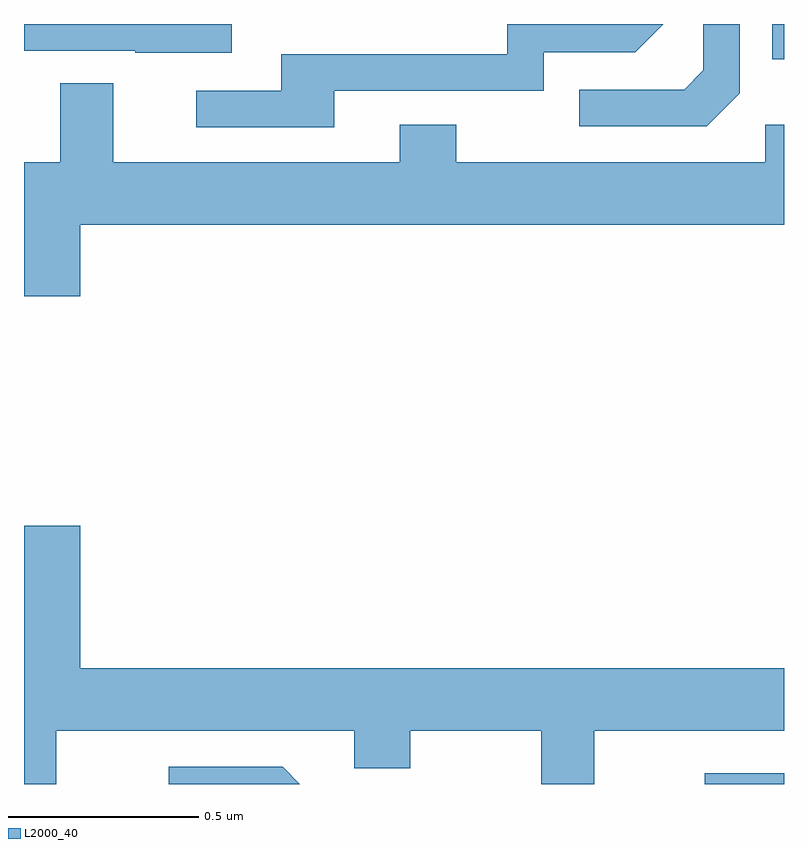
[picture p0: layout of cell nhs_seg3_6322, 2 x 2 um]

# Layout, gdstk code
import gdstk
lib = gdstk.Library(unit=1e-6, precision=1e-09)
def R(c, l, rs):  # rectangles x0, y0, x1, y1
    for r in rs: c.add(gdstk.rectangle(r[:2], r[2:], *l))
def P(c, l, *ps):  # polygons
    for p in ps: c.add(gdstk.Polygon(p, *l))
L2000_40 = (2000, 40)

nhs_seg3_6322 = lib.new_cell('nhs_seg3_6322')
R(nhs_seg3_6322, L2000_40, [(190.791,743.4,191,743.428), (190.969,745.307,191,745.4)])
P(nhs_seg3_6322, L2000_40, [(189.817,745.224),(190.368,745.224),(190.368,745.326),(190.608,745.326),(190.682,745.4),(190.272,745.4),(190.272,745.32),(189.677,745.32),(189.677,745.224),(189.453,745.224),(189.453,745.128),(189.817,745.128)],
  [(189.547,745.4),(189,745.4),(189,745.329),(189.293,745.329),(189.293,745.325),(189.547,745.325)],
  [(190.884,745.218),(190.884,745.4),(190.788,745.4),(190.788,745.278),(190.737,745.227),(190.461,745.227),(190.461,745.131),(190.797,745.131)],
  [(189.148,744.872),(191,744.872),(191,745.135),(190.95,745.135),(190.95,745.036),(190.137,745.036),(190.137,745.135),(189.989,745.135),(189.989,745.036),(189.235,745.036),(189.235,745.244),(189.095,745.244),(189.095,745.036),(189,745.036),(189,744.684),(189.148,744.684)],
  [(189.085,743.54),(189.869,743.54),(189.869,743.441),(190.017,743.441),(190.017,743.54),(190.361,743.54),(190.361,743.4),(190.501,743.4),(190.501,743.54),(191,743.54),(191,743.704),(189.148,743.704),(189.148,744.079),(189,744.079),(189,743.4),(189.085,743.4)],
  [(189.681,743.445),(189.381,743.445),(189.381,743.4),(189.726,743.4)])

lib.write_gds('nhs_seg3_6322.gds')
